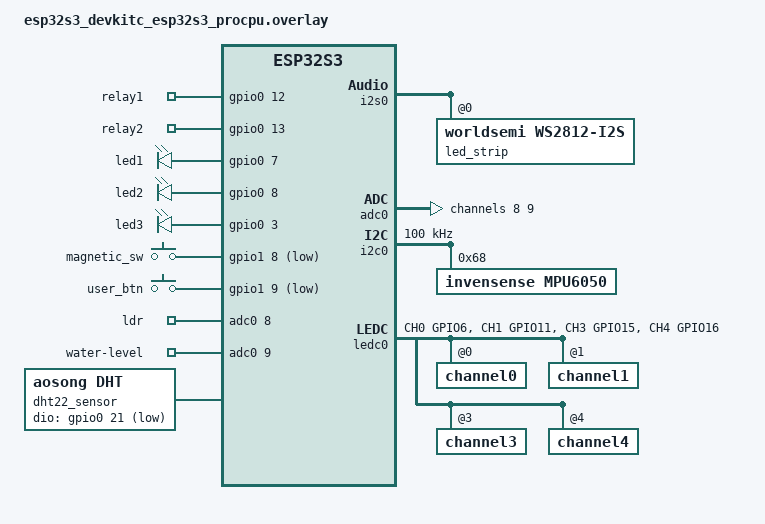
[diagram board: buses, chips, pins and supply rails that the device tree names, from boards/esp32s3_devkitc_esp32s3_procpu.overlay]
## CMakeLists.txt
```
cmake_minimum_required(VERSION 3.20.0)

find_package(Zephyr REQUIRED HINTS $ENV{ZEPHYR_BASE})
project(iot_interactive_kit)

target_sources(app PRIVATE
	src/main.c
	src/modules/api_module.c
	src/modules/config_module.c
	src/modules/device_identity.c
	src/modules/provision_module.c
	src/modules/rgb_module.c
	src/modules/buzzer_module.c
	src/modules/mpu6050_module.c
	src/modules/reset_button_module.c
	src/modules/vl6180x_module.c
	src/modules/servo_module.c
	src/modules/wifi_manager.c
	src/modules/relay_module.c
	src/modules/analog_module.c
	src/modules/gpio_inputs_module.c
	src/modules/dht22_module.c
	src/modules/led_module.c
	src/modules/motor_module.c
)

target_include_directories(app PRIVATE include)
```

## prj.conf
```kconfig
# =========================
# Hardware / Drivers
# =========================
CONFIG_LED_STRIP=y
CONFIG_WS2812_STRIP_I2S=y
CONFIG_DMA=y
CONFIG_GPIO=y
CONFIG_PWM=y
CONFIG_PWM_LOG_LEVEL_DBG=y
CONFIG_I2C=y
CONFIG_SENSOR=y
CONFIG_MPU6050=y
CONFIG_MPU6050_TRIGGER_NONE=y
CONFIG_DHT=y
CONFIG_ADC=y

# =========================
# Wi-Fi
# =========================
CONFIG_WIFI=y
CONFIG_WIFI_NM=y
CONFIG_WIFI_USAGE_MODE_STA_AP=y

# =========================
# Core Networking
# =========================
CONFIG_NETWORKING=y
CONFIG_NET_IPV4=y
CONFIG_NET_IPV6=n
CONFIG_NET_TCP=y
CONFIG_NET_UDP=y
CONFIG_NET_SOCKETS=y
CONFIG_NET_SOCKETS_SERVICE=y
CONFIG_NET_SOCKETS_SERVICE_STACK_SIZE=4096

CONFIG_NET_L2_ETHERNET=y
CONFIG_NET_L2_WIFI_MGMT=y

# =========================
# Network Management
# =========================
CONFIG_NET_MGMT=y
CONFIG_NET_MGMT_EVENT=y
CONFIG_NET_MGMT_EVENT_INFO=y

# =========================
# Connection Manager
# =========================
CONFIG_NET_CONNECTION_MANAGER=y
CONFIG_NET_CONNECTION_MANAGER_AUTO_IF_DOWN=n
CONFIG_NET_CONNECTION_MANAGER_MONITOR_STACK_SIZE=1024

# =========================
# DHCP
# =========================
CONFIG_NET_DHCPV4=y
CONFIG_NET_DHCPV4_SERVER=y
CONFIG_NET_DHCPV4_SERVER_ICMP_PROBE_TIMEOUT=0

# =========================
# Network Limits
# =========================
CONFIG_NET_IF_MAX_IPV4_COUNT=2
CONFIG_NET_MAX_CONN=16
CONFIG_NET_MAX_CONTEXTS=16
CONFIG_NET_PKT_RX_COUNT=48
CONFIG_NET_PKT_TX_COUNT=48
CONFIG_NET_BUF_RX_COUNT=48
CONFIG_NET_BUF_TX_COUNT=48
CONFIG_NET_BUF_DATA_SIZE=256
CONFIG_NET_RX_STACK_SIZE=2048
CONFIG_NET_TCP_WORKQ_STACK_SIZE=2048
CONFIG_NET_MGMT_EVENT_STACK_SIZE=4096
CONFIG_NET_MGMT_EVENT_QUEUE_SIZE=32
CONFIG_NET_MGMT_EVENT_QUEUE_TIMEOUT=5000
CONFIG_ZVFS_POLL_MAX=16
CONFIG_ZVFS_OPEN_MAX=18

# =========================
# DNS / Discovery
# =========================
CONFIG_DNS_RESOLVER=y
CONFIG_MDNS_RESOLVER=y
CONFIG_MDNS_RESPONDER=y
CONFIG_LLMNR_RESPONDER=n

# =========================
# Hostname
# =========================
CONFIG_NET_HOSTNAME_ENABLE=y
CONFIG_NET_HOSTNAME_DYNAMIC=y
CONFIG_NET_HOSTNAME="iot-kit"
CONFIG_NET_HOSTNAME_MAX_LEN=32

# =========================
# Settings / Storage
# =========================
CONFIG_FLASH=y
CONFIG_FLASH_MAP=y
CONFIG_MPU_ALLOW_FLASH_WRITE=y
CONFIG_NVS=y
CONFIG_SETTINGS=y
CONFIG_SETTINGS_NVS=y

# =========================
# System
# =========================
CONFIG_REBOOT=y
CONFIG_HEAP_MEM_POOL_SIZE=65536
CONFIG_MAIN_STACK_SIZE=4096
CONFIG_SYSTEM_WORKQUEUE_STACK_SIZE=4096
CONFIG_POSIX_API=y
CONFIG_NET_TCP_TIME_WAIT_DELAY=0

# =========================
# Logging / Debug
# =========================
CONFIG_LOG=y
CONFIG_LOG_DEFAULT_LEVEL=3
CONFIG_CONSOLE=y
CONFIG_UART_CONSOLE=y
CONFIG_STDOUT_CONSOLE=y
CONFIG_PRINTK=y
CONFIG_ASSERT=y
CONFIG_THREAD_NAME=y
CONFIG_INIT_STACKS=y
CONFIG_STACK_SENTINEL=y
```

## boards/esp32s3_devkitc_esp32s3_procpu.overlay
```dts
#include <zephyr/dt-bindings/led/led.h>
#include <zephyr/dt-bindings/pwm/pwm.h>
#include <zephyr/dt-bindings/gpio/gpio.h>

/ {
	aliases {
		led-strip = &led_strip;
	};

	relay_outputs {
		compatible = "gpio-leds";

		relay1: relay1 {
			gpios = <&gpio0 12 GPIO_ACTIVE_HIGH>;
		};

		relay2: relay2 {
			gpios = <&gpio0 13 GPIO_ACTIVE_HIGH>;
		};
	};

	led_outputs {
		compatible = "gpio-leds";

		led1: led1 {
			gpios = <&gpio0 7 GPIO_ACTIVE_HIGH>;
		};

		led2: led2 {
			gpios = <&gpio0 8 GPIO_ACTIVE_HIGH>;
		};

		led3: led3 {
			gpios = <&gpio0 3 GPIO_ACTIVE_HIGH>;
		};
	};

	gpio_inputs {
		compatible = "gpio-keys";

		magnetic_sw: magnetic_sw {
			gpios = <&gpio1 8 (GPIO_ACTIVE_LOW | GPIO_PULL_UP)>;
		};

		user_btn: user_btn {
			gpios = <&gpio1 9 (GPIO_ACTIVE_LOW | GPIO_PULL_UP)>;
		};
	};

	zephyr,user {
		io-channels = <&adc0 8>, <&adc0 9>;
		io-channel-names = "ldr", "water-level";
	};

	dht22_sensor: dht22_sensor {
		compatible = "aosong,dht";
		dio-gpios = <&gpio0 21 (GPIO_ACTIVE_LOW | GPIO_PULL_UP)>;
		dht22;
		status = "okay";
	};

	wifi_ap: wifi_ap {
		compatible = "espressif,esp32-wifi";
		status = "okay";
	};

};

&i2s0_default {
	group1 {
		pinmux = <I2S0_O_SD_GPIO48>;
	};
};

i2s_led: &i2s0 {
	status = "okay";

	dmas = <&dma 3>;
	dma-names = "tx";

	led_strip: ws2812@0 {
		compatible = "worldsemi,ws2812-i2s";

		reg = <0>;
		chain-length = <1>;
		color-mapping = <LED_COLOR_ID_GREEN
				 LED_COLOR_ID_RED
				 LED_COLOR_ID_BLUE>;
		reset-delay = <500>;
	};
};

&dma {
	status = "okay";
};

&pinctrl {
	ledc0_default: ledc0_default {
		group1 {
			pinmux = <LEDC_CH0_GPIO6>,
				 <LEDC_CH1_GPIO11>,
				 <LEDC_CH3_GPIO15>,
				 <LEDC_CH4_GPIO16>;
			output-enable;
		};
	};
};

&adc0 {
	status = "okay";
	#address-cells = <1>;
	#size-cells = <0>;

	/* GPIO9 = ADC1_CH8 */
	channel@8 {
		reg = <8>;
		zephyr,gain = "ADC_GAIN_1_4";
		zephyr,reference = "ADC_REF_INTERNAL";
		zephyr,acquisition-time = <ADC_ACQ_TIME_DEFAULT>;
		zephyr,resolution = <12>;
	};

	/* GPIO10 = ADC1_CH9 */
	channel@9 {
		reg = <9>;
		zephyr,gain = "ADC_GAIN_1_4";
		zephyr,reference = "ADC_REF_INTERNAL";
		zephyr,acquisition-time = <ADC_ACQ_TIME_DEFAULT>;
		zephyr,resolution = <12>;
	};
};

&i2c0 {
	status = "okay";
	clock-frequency = <I2C_BITRATE_STANDARD>;
	pinctrl-0 = <&i2c0_default>;
	pinctrl-names = "default";

	mpu6050: mpu6050@68 {
		compatible = "invensense,mpu6050";
		reg = <0x68>;
		status = "okay";
	};

};

&ledc0 {
	pinctrl-0 = <&ledc0_default>;
	pinctrl-names = "default";
	status = "okay";
	#address-cells = <1>;
	#size-cells = <0>;

	channel0@0 {
		reg = <0x0>;
		timer = <0>;
	};

	channel1@1 {
		reg = <0x1>;
		timer = <1>;
	};

	channel3@3 {
		reg = <0x3>;
		timer = <2>;
	};

	channel4@4 {
		reg = <0x4>;
		timer = <3>;
	};
};
```

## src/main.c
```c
#include <zephyr/kernel.h>
#include <zephyr/logging/log.h>

#include "modules/api_module.h"
#include "modules/device_identity.h"
#include "modules/config_module.h"
#include "modules/provision_module.h"
#include "modules/rgb_module.h"
#include "modules/buzzer_module.h"
#include "modules/analog_module.h"
#include "modules/gpio_inputs_module.h"
#include "modules/relay_module.h"
#include "modules/dht22_module.h"
#include "modules/mpu6050_module.h"
#include "modules/reset_button_module.h"
#include "modules/vl6180x_module.h"
#include "modules/servo_module.h"
#include "modules/led_module.h"
#include "modules/motor_module.h"

LOG_MODULE_REGISTER(main, LOG_LEVEL_INF);

#define RGB_PATTERN_DELAY K_MSEC(700)

int main(void)
{
	int ret;

	LOG_INF("IoT Interactive Kit starting");

	/* ── 1. Persistent config (NVS reads must finish before WiFi starts) ── */
	ret = config_module_init();
	if (ret < 0) {
		LOG_ERR("Config init failed: %d", ret);
	}

	ret = config_module_load();
	if (ret < 0) {
		LOG_WRN("Config load failed: %d", ret);
	}

	/* ── 2. RGB first — provision module uses it for status LEDs ── */
	ret = rgb_module_init();
	if (ret < 0) {
		LOG_ERR("RGB init failed: %d", ret);
		return 0;
	}

	/* ── 3. WiFi / AP — start before any other peripheral ── */
	ret = device_identity_init(NULL);
	if (ret < 0) {
		LOG_ERR("Device identity init failed: %d", ret);
	}

	ret = provision_module_init();
	if (ret < 0) {
		LOG_ERR("Provision init failed: %d", ret);
	} else {
		ret = provision_module_start();
		if (ret < 0) {
			LOG_ERR("Provision start failed: %d", ret);
		}
	}

	/* ── 4. Remaining peripherals (after WiFi is already starting) ── */
	ret = buzzer_module_init();
	if (ret < 0) {
		LOG_WRN("Buzzer init failed: %d", ret);
	}

	ret = reset_button_module_init();
	if (ret < 0) {
		LOG_WRN("Reset button init failed: %d", ret);
	}

	ret = relay_module_init();
	if (ret < 0) {
		LOG_WRN("Relay module init failed: %d", ret);
	}

	ret = gpio_inputs_module_init();
	if (ret < 0) {
		LOG_WRN("GPIO inputs init failed: %d", ret);
	}

	ret = analog_module_init();
	if (ret < 0) {
		LOG_WRN("Analog module init failed: %d", ret);
	}

	ret = dht22_module_init();
	if (ret < 0) {
		LOG_WRN("DHT22 init failed: %d", ret);
	}

	ret = mpu6050_module_init();
	if (ret < 0) {
		LOG_WRN("MPU6050 init failed: %d", ret);
	}

	ret = vl6180x_module_init();
	if (ret < 0) {
		LOG_WRN("VL6180X init failed: %d", ret);
	}

	ret = servo_module_init();
	if (ret < 0) {
		LOG_WRN("Servo init failed: %d", ret);
	}

	ret = led_module_init();
	if (ret < 0) {
		LOG_WRN("LED module init failed: %d", ret);
	}

	/* Motor last — PWM noise at boot interferes with WiFi startup */
	ret = motor_module_init();
	if (ret < 0) {
		LOG_WRN("Motor module init failed: %d", ret);
	}

	ret = api_module_init();
	if (ret < 0) {
		LOG_ERR("API init failed: %d", ret);
	} else {
		api_module_start();
	}

	while (1) {
		rgb_module_run_pattern(RGB_PATTERN_DELAY);
	}
}
```

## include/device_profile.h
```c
#ifndef DEVICE_PROFILE_H_
#define DEVICE_PROFILE_H_

#define DEVICE_PRODUCT_NAME "IotKit"
#define DEVICE_PORTAL_AP_IP "192.168.4.1"
#define DEVICE_PORTAL_NETMASK "255.255.255.0"
#define DEVICE_PORTAL_HOSTNAME "iot-kit"
#define DEVICE_PORTAL_FQDN DEVICE_PORTAL_HOSTNAME ".local"
#define DEVICE_API_PORT 8080
#define DEVICE_WIFI_PROFILE_VERSION "1.0"

#define PROVISION_STA_CONNECT_TIMEOUT_MS 30000
#define PROVISION_STA_MAX_ATTEMPTS 5
#define PROVISION_STA_RETRY_DELAY_MS 500
#define PROVISION_STA_RECONNECT_DELAY_MS 60000
#define PROVISION_BOOT_FALLBACK_AP_DELAY_MS 15000
#define PROVISION_AP_RETRY_DELAY_MS 1000
#define PROVISION_AP_STOP_SETTLE_MS 200
#define PROVISION_STA_START_AFTER_RESPONSE_MS 1500

#endif /* DEVICE_PROFILE_H_ */
```
